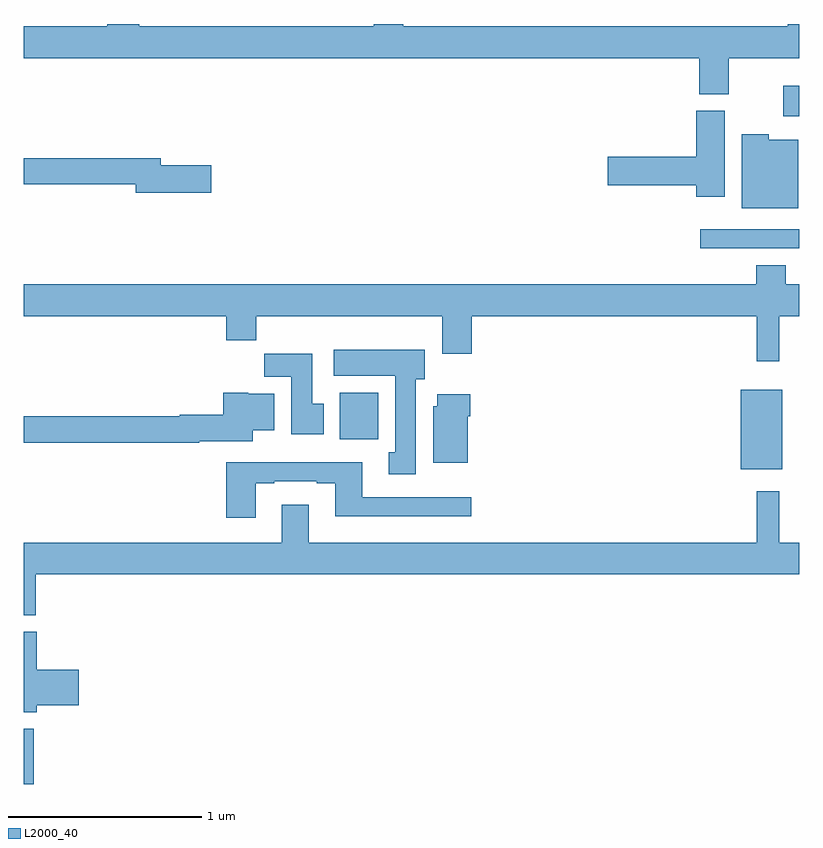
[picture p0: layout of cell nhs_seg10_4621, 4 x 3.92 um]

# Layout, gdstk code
import gdstk
lib = gdstk.Library(unit=1e-6, precision=1e-09)
def R(c, l, rs):  # rectangles x0, y0, x1, y1
    for r in rs: c.add(gdstk.rectangle(r[:2], r[2:], *l))
def P(c, l, *ps):  # polygons
    for p in ps: c.add(gdstk.Polygon(p, *l))
L2000_40 = (2000, 40)

nhs_seg10_4621 = lib.new_cell('nhs_seg10_4621')
R(nhs_seg10_4621, L2000_40, [(375,1288.578,375.05,1288.863), (378.698,1290.203,378.913,1290.613), (376.631,1290.356,376.828,1290.598), (378.489,1291.344,379,1291.44), (378.918,1292.024,379,1292.182)])
P(nhs_seg10_4621, L2000_40, [(378.637,1292.324),(379,1292.324),(379,1292.5),(378.941,1292.5),(378.941,1292.488),(376.958,1292.488),(376.958,1292.5),(376.806,1292.5),(376.806,1292.488),(375.596,1292.488),(375.596,1292.5),(375.431,1292.5),(375.431,1292.488),(375,1292.488),(375,1292.324),(378.485,1292.324),(378.485,1292.137),(378.637,1292.137)],
  [(378.616,1292.052),(378.47,1292.052),(378.47,1291.814),(378.012,1291.814),(378.012,1291.667),(378.47,1291.667),(378.47,1291.608),(378.616,1291.608)],
  [(378.997,1291.903),(378.843,1291.903),(378.843,1291.93),(378.704,1291.93),(378.704,1291.55),(378.997,1291.55)],
  [(375.967,1291.772),(375.706,1291.772),(375.706,1291.808),(375,1291.808),(375,1291.672),(375.578,1291.672),(375.578,1291.63),(375.967,1291.63)],
  [(378.781,1290.759),(378.899,1290.759),(378.899,1290.992),(379,1290.992),(379,1291.156),(378.931,1291.156),(378.931,1291.255),(378.779,1291.255),(378.779,1291.156),(375,1291.156),(375,1290.992),(376.043,1290.992),(376.043,1290.868),(376.199,1290.868),(376.199,1290.992),(377.159,1290.992),(377.159,1290.798),(377.312,1290.798),(377.312,1290.992),(378.781,1290.992)],
  [(377.023,1290.666),(377.068,1290.666),(377.068,1290.82),(376.599,1290.82),(376.599,1290.686),(376.916,1290.686),(376.916,1290.29),(376.883,1290.29),(376.883,1290.177),(377.023,1290.177)],
  [(376.546,1290.54),(376.489,1290.54),(376.489,1290.799),(376.24,1290.799),(376.24,1290.68),(376.379,1290.68),(376.379,1290.384),(376.546,1290.384)],
  [(375.904,1290.347),(376.18,1290.347),(376.18,1290.404),(376.291,1290.404),(376.291,1290.592),(376.158,1290.592),(376.158,1290.598),(376.028,1290.598),(376.028,1290.484),(375.804,1290.484),(375.804,1290.476),(375,1290.476),(375,1290.34),(375.904,1290.34)],
  [(377.29,1290.476),(377.303,1290.476),(377.303,1290.589),(377.132,1290.589),(377.132,1290.528),(377.111,1290.528),(377.111,1290.236),(377.29,1290.236)],
  [(376.195,1290.129),(376.291,1290.129),(376.291,1290.141),(376.511,1290.141),(376.511,1290.129),(376.607,1290.129),(376.607,1289.96),(377.308,1289.96),(377.308,1290.057),(376.747,1290.057),(376.747,1290.238),(376.043,1290.238),(376.043,1289.952),(376.195,1289.952)],
  [(379,1289.824),(378.898,1289.824),(378.898,1290.088),(378.781,1290.088),(378.781,1289.824),(376.471,1289.824),(376.471,1290.019),(376.331,1290.019),(376.331,1289.824),(375,1289.824),(375,1289.449),(375.062,1289.449),(375.062,1289.66),(379,1289.66)],
  [(375.065,1288.985),(375.283,1288.985),(375.283,1289.168),(375.065,1289.168),(375.065,1289.364),(375,1289.364),(375,1288.948),(375.065,1288.948)])

lib.write_gds('nhs_seg10_4621.gds')
